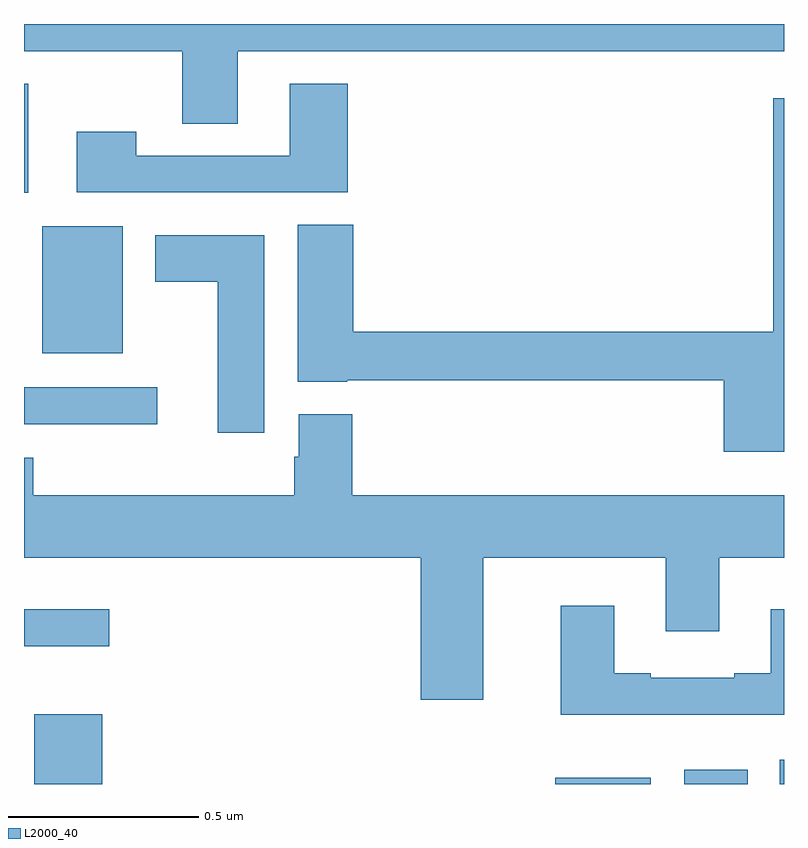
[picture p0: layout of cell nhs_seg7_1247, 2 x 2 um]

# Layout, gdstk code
import gdstk
lib = gdstk.Library(unit=1e-6, precision=1e-09)
def R(c, l, rs):  # rectangles x0, y0, x1, y1
    for r in rs: c.add(gdstk.rectangle(r[:2], r[2:], *l))
def P(c, l, *ps):  # polygons
    for p in ps: c.add(gdstk.Polygon(p, *l))
L2000_40 = (2000, 40)

nhs_seg7_1247 = lib.new_cell('nhs_seg7_1247')
R(nhs_seg7_1247, L2000_40, [(128.027,1020,128.206,1020.184), (129.398,1020,129.649,1020.016), (129.737,1020,129.904,1020.037), (129.989,1020,130,1020.064), (128,1020.363,128.224,1020.46), (128,1020.947,128.35,1021.044), (128.048,1021.133,128.26,1021.468), (128,1021.556,128.011,1021.843)])
P(nhs_seg7_1247, L2000_40, [(128.563,1021.928),(130,1021.928),(130,1022),(128,1022),(128,1021.928),(128.416,1021.928),(128.416,1021.738),(128.563,1021.738)],
  [(128.852,1021.843),(128.699,1021.843),(128.699,1021.653),(128.295,1021.653),(128.295,1021.717),(128.139,1021.717),(128.139,1021.557),(128.852,1021.557)],
  [(130,1021.804),(129.972,1021.804),(129.972,1021.19),(128.867,1021.19),(128.867,1021.472),(128.72,1021.472),(128.72,1021.058),(128.85,1021.058),(128.85,1021.062),(129.842,1021.062),(129.842,1020.875),(130,1020.875)],
  [(128.632,1021.444),(128.345,1021.444),(128.345,1021.322),(128.51,1021.322),(128.51,1020.924),(128.632,1020.924)],
  [(129.208,1020.596),(129.689,1020.596),(129.689,1020.402),(129.829,1020.402),(129.829,1020.596),(130,1020.596),(130,1020.76),(128.864,1020.76),(128.864,1020.973),(128.723,1020.973),(128.723,1020.861),(128.711,1020.861),(128.711,1020.76),(128.024,1020.76),(128.024,1020.859),(128,1020.859),(128,1020.596),(129.044,1020.596),(129.044,1020.222),(129.208,1020.222)],
  [(130,1020.46),(129.965,1020.46),(129.965,1020.292),(129.869,1020.292),(129.869,1020.279),(129.649,1020.279),(129.649,1020.292),(129.553,1020.292),(129.553,1020.469),(129.413,1020.469),(129.413,1020.182),(130,1020.182)])

lib.write_gds('nhs_seg7_1247.gds')
